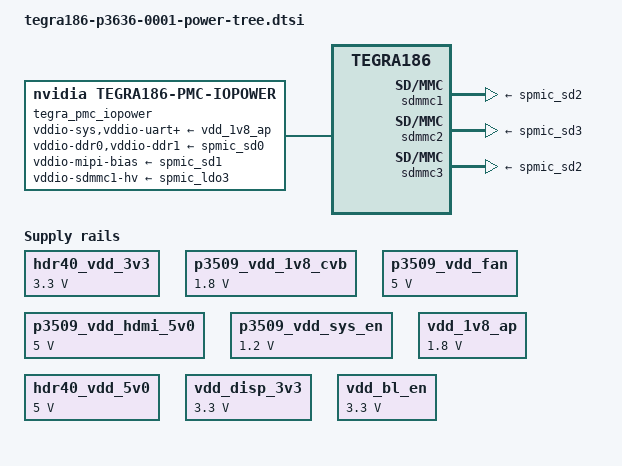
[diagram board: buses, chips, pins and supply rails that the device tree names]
// SPDX-License-Identifier: GPL-2.0
/*
 * P3636/P3509 regulator and IO-power topology ported from NVIDIA L4T 4.9.
 *
 * Keep PMIC FPS/ramp programming in the main P3636 board DTS; it is already
 * present in the 5.10 port.  This file restores the missing fixed rails and
 * consumer relationships.
 */

#include <dt-bindings/soc/tegra-io-pads.h>

/ {
	fixed-regulators {
		compatible = "simple-bus";
		device_type = "fixed-regulators";
		#address-cells = <1>;
		#size-cells = <0>;

		hdr40_vdd_3v3: vdd_3v3: p3509_vdd_3v3_cvb: regulator@101 {
			compatible = "regulator-fixed";
			reg = <101>;
			regulator-name = "vdd-3v3-cvb";
			regulator-min-microvolt = <3300000>;
			regulator-max-microvolt = <3300000>;
		};

		p3509_vdd_1v8_cvb: regulator@102 {
			compatible = "regulator-fixed";
			reg = <102>;
			regulator-name = "vdd-1v8-cvb";
			regulator-min-microvolt = <1800000>;
			regulator-max-microvolt = <1800000>;
		};

		p3509_vdd_fan: regulator@111 {
			compatible = "regulator-fixed";
			reg = <111>;
			regulator-name = "vdd-fan";
			regulator-min-microvolt = <5000000>;
			regulator-max-microvolt = <5000000>;
		};

		p3509_vdd_hdmi_5v0: regulator@112 {
			compatible = "regulator-fixed";
			reg = <112>;
			regulator-name = "vdd-hdmi-5v0";
			regulator-min-microvolt = <5000000>;
			regulator-max-microvolt = <5000000>;
			enable-active-high;
		};

		p3509_vdd_sys_en: regulator@113 {
			compatible = "regulator-fixed";
			reg = <113>;
			regulator-name = "vdd_sys_en";
			regulator-min-microvolt = <1200000>;
			regulator-max-microvolt = <1200000>;
			enable-active-high;
		};

		vdd_1v8_ap: regulator@201 {
			compatible = "regulator-fixed";
			reg = <201>;
			regulator-name = "vdd-1v8-ap";
			regulator-min-microvolt = <1800000>;
			regulator-max-microvolt = <1800000>;
			regulator-always-on;
			regulator-boot-on;
		};

		hdr40_vdd_5v0: battery_reg: regulator@202 {
			compatible = "regulator-fixed";
			reg = <202>;
			regulator-name = "vdd-ac-bat";
			regulator-min-microvolt = <5000000>;
			regulator-max-microvolt = <5000000>;
			regulator-always-on;
		};

		vdd_disp_3v3: regulator@203 {
			compatible = "regulator-fixed";
			reg = <203>;
			regulator-name = "vdd-3v3-disp-cvb";
			regulator-min-microvolt = <3300000>;
			regulator-max-microvolt = <3300000>;
		};

		vdd_bl_en: regulator@204 {
			compatible = "regulator-fixed-sync";
			reg = <204>;
			regulator-name = "vdd-sys-bl";
			regulator-min-microvolt = <3300000>;
			regulator-max-microvolt = <3300000>;
		};
	};

	tegra_pmc_iopower: pmc-iopower {
		compatible = "nvidia,tegra186-pmc-iopower";
		pad-controllers = <&pmc TEGRA_IO_PAD_GROUP_UFS
					TEGRA_IO_PAD_GROUP_DBG
					TEGRA_IO_PAD_GROUP_SPI
					TEGRA_IO_PAD_GROUP_AUDIO_HV
					TEGRA_IO_PAD_GROUP_AO_HV
					TEGRA_IO_PAD_GROUP_DMIC_HV
					TEGRA_IO_PAD_GROUP_SDMMC1_HV
					TEGRA_IO_PAD_GROUP_SDMMC2_HV
					TEGRA_IO_PAD_GROUP_SDMMC3_HV
					TEGRA_IO_PAD_GROUP_DSI
					TEGRA_IO_PAD_GROUP_DSIB
					TEGRA_IO_PAD_GROUP_DSIC
					TEGRA_IO_PAD_GROUP_DSID
					TEGRA_IO_PAD_GROUP_HDMI_DP0
					TEGRA_IO_PAD_GROUP_HDMI_DP1>;
		pad-names = "ufs", "dbg", "spi", "audio-hv", "ao-hv",
			    "dmic-hv", "sdmmc1-hv", "sdmmc2-hv", "sdmmc3-hv",
			    "dsia", "dsib", "dsic", "dsid", "hdmi-dp0", "hdmi-dp1";

		vddio-sys-supply = <&vdd_1v8_ap>;
		vddio-uart-supply = <&vdd_1v8_ap>;
		vddio-conn-supply = <&vdd_1v8_ap>;
		vddio-edp-supply = <&vdd_1v8_ap>;
		vddio-pex-cntrl-supply = <&vdd_1v8_ap>;
		vddio-audio-supply = <&vdd_1v8_ap>;
		vddio-ufs-supply = <&vdd_1v8_ap>;
		vddio-ddr0-supply = <&spmic_sd0>;
		vddio-ddr1-supply = <&spmic_sd0>;
		vddio-mipi-bias-supply = <&spmic_sd1>;
		vddio-cam-supply = <&vdd_1v8_ap>;
		vddio-sdmmc4-supply = <&vdd_1v8_ap>;
		vddio-sdmmc1-hv-supply = <&spmic_ldo3>;
		vddio-audio-hv-supply = <&vdd_1v8_ap>;
		vddio-dbg-supply = <&vdd_1v8_ap>;
		vddio-spi-supply = <&vdd_1v8_ap>;
		vddio-ao-supply = <&vdd_1v8_ap>;
		vddio-ao-hv-supply = <&spmic_ldo2>;
		vddio-dmic-hv-supply = <&vdd_1v8_ap>;
		vddio-sdmmc2-hv-supply = <&spmic_sd3>;
		vddio-sdmmc3-hv-supply = <&spmic_ldo5>;
		status = "okay";
	};
};

&{/ethernet@2490000} {
	vddio_sys_enet_bias-supply = <&spmic_sd2>;
	vddio_enet-supply = <&spmic_sd3>;
	phy_vdd_1v8-supply = <&spmic_sd2>;
	phy_ovdd_rgmii-supply = <&spmic_sd3>;
	phy_pllvdd-supply = <&spmic_sd1>;
};

&tegra_vi {
	avdd_dsi_csi-supply = <&spmic_sd1>;
};

&tegra_nvcsi {
	nvidia,csi_regulator = "avdd_dsi_csi";
};

&sdmmc1 {
	vqmmc-supply = <&spmic_ldo3>;
	vmmc-supply = <&spmic_sd2>;
};

&sdmmc2 {
	vqmmc-supply = <&spmic_sd2>;
	vmmc-supply = <&spmic_sd3>;
};

&sdmmc3 {
	vqmmc-supply = <&spmic_ldo5>;
	vmmc-supply = <&spmic_sd2>;
};

&{/usb@3530000} {
	avddio_usb-supply = <&spmic_sd3>;
	avdd_pll_utmip-supply = <&spmic_sd2>;
	hvdd_usb-supply = <&spmic_sd2>;
};

&padctl {
	avdd-usb-supply = <&spmic_sd3>;
	vclamp-usb-supply = <&spmic_sd2>;
	avdd-pll-erefeut-supply = <&spmic_sd2>;
	vddio-hsic-supply = <&battery_reg>;

	ports {
		usb2-0 { vbus-supply = <&battery_reg>; };
		usb2-1 { vbus-supply = <&battery_reg>; };
		usb2-2 { vbus-supply = <&battery_reg>; };
	};
};

&{/pcie@10003000} {
	dvdd-pex-supply = <&spmic_ldo7>;
	hvdd-pex-pll-supply = <&spmic_sd2>;
	hvdd-pex-supply = <&spmic_sd2>;
	vddio-pexctl-aud-supply = <&spmic_sd2>;
};

&pwm_fan {
	vdd-fan-supply = <&p3509_vdd_fan>;
};

&head0_legacy {
	vdd-dp-pwr-supply = <&battery_reg>;
	avdd-dp-pll-supply = <&battery_reg>;
	vdd-edp-sec-mode-supply = <&battery_reg>;
	vdd-dp-pad-supply = <&battery_reg>;
	avdd_hdmi-supply = <&spmic_ldo7>;
	avdd_hdmi_pll-supply = <&spmic_sd2>;
	vdd_hdmi_5v0-supply = <&p3509_vdd_hdmi_5v0>;
	avdd_lcd-supply = <&vdd_disp_3v3>;
	dvdd_lcd-supply = <&vdd_1v8_ap>;
	avdd_dsi_csi-supply = <&spmic_sd1>;
	vdd_lcd_bl-supply = <&battery_reg>;
	vdd_lcd_bl_en-supply = <&vdd_bl_en>;
};

&head1_legacy {
	vdd-dp-pwr-supply = <&battery_reg>;
	avdd-dp-pll-supply = <&battery_reg>;
	vdd-edp-sec-mode-supply = <&battery_reg>;
	vdd-dp-pad-supply = <&battery_reg>;
	avdd_hdmi-supply = <&spmic_ldo7>;
	avdd_hdmi_pll-supply = <&spmic_sd2>;
	vdd_hdmi_5v0-supply = <&p3509_vdd_hdmi_5v0>;
	avdd_lcd-supply = <&vdd_disp_3v3>;
	dvdd_lcd-supply = <&vdd_1v8_ap>;
	avdd_dsi_csi-supply = <&spmic_sd1>;
	vdd_lcd_bl-supply = <&battery_reg>;
	vdd_lcd_bl_en-supply = <&vdd_bl_en>;
};

&head2_legacy {
	vdd-dp-pwr-supply = <&battery_reg>;
	avdd-dp-pll-supply = <&battery_reg>;
	vdd-edp-sec-mode-supply = <&battery_reg>;
	vdd-dp-pad-supply = <&battery_reg>;
	avdd_hdmi-supply = <&spmic_ldo7>;
	avdd_hdmi_pll-supply = <&spmic_sd2>;
	vdd_hdmi_5v0-supply = <&p3509_vdd_hdmi_5v0>;
	avdd_lcd-supply = <&vdd_disp_3v3>;
	dvdd_lcd-supply = <&vdd_1v8_ap>;
	avdd_dsi_csi-supply = <&spmic_sd1>;
	vdd_lcd_bl-supply = <&battery_reg>;
	vdd_lcd_bl_en-supply = <&vdd_bl_en>;
};
